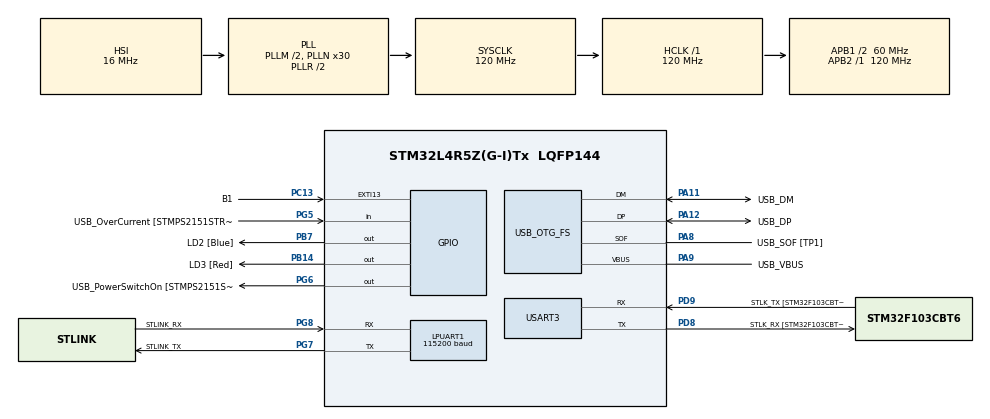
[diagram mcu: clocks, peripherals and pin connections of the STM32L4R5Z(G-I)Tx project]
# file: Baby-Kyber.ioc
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LPUART1.BaudRate=115200
LPUART1.WordLength=UART_WORDLENGTH_8B
Mcu.Family=STM32L4
Mcu.Name=STM32L4R5Z(G-I)Tx
Mcu.Package=LQFP144
NVIC.PriorityGroup=NVIC_PRIORITYGROUP_4
PA10.GPIO_Label=USB_ID
PA10.Signal=USB_OTG_FS_ID
PA11.GPIO_Label=USB_DM
PA11.Mode=Device_Only
PA11.Signal=USB_OTG_FS_DM
PA12.GPIO_Label=USB_DP
PA12.Mode=Device_Only
PA12.Signal=USB_OTG_FS_DP
PA13\ (JTMS/SWDIO).GPIO_Label=TMS
PA13\ (JTMS/SWDIO).Mode=Trace_Asynchronous_SW
PA13\ (JTMS/SWDIO).Signal=SYS_JTMS-SWDIO
PA14\ (JTCK/SWCLK).GPIO_Label=TCK
PA14\ (JTCK/SWCLK).Mode=Trace_Asynchronous_SW
PA14\ (JTCK/SWCLK).Signal=SYS_JTCK-SWCLK
PA8.GPIO_Label=USB_SOF [TP1]
PA8.Mode=Activate_SOF_FS
PA8.Signal=USB_OTG_FS_SOF
PA9.GPIO_Label=USB_VBUS
PA9.Mode=Activate_VBUS
PA9.Signal=USB_OTG_FS_VBUS
PB14.GPIO_Label=LD3 [Red]
PB14.Signal=GPIO_Output
PB3\ (JTDO/TRACESWO).GPIO_Label=SWO
PB3\ (JTDO/TRACESWO).Mode=Trace_Asynchronous_SW
PB3\ (JTDO/TRACESWO).Signal=SYS_JTDO-SWO
PB7.GPIO_Label=LD2 [Blue]
PB7.Signal=GPIO_Output
PC13.GPIO_Label=B1
PC13.Signal=GPXTI13
PC14-OSC32_IN\ (PC14).Mode=LSE-External-Oscillator
PC14-OSC32_IN\ (PC14).Signal=RCC_OSC32_IN
PC15-OSC32_OUT\ (PC15).Mode=LSE-External-Oscillator
PC15-OSC32_OUT\ (PC15).Signal=RCC_OSC32_OUT
PD8.GPIO_Label=STLK_RX [STM32F103CBT6_PA3]
PD8.Mode=Asynchronous
PD8.Signal=USART3_TX
PD9.GPIO_Label=STLK_TX [STM32F103CBT6_PA2]
PD9.Mode=Asynchronous
PD9.Signal=USART3_RX
PG5.GPIO_Label=USB_OverCurrent [STMPS2151STR_FAULT]
PG5.Signal=GPIO_Input
PG6.GPIO_Label=USB_PowerSwitchOn [STMPS2151STR_EN]
PG6.Signal=GPIO_Output
PG7.GPIO_Label=STLINK_TX
PG7.Mode=Asynchronous
PG7.Signal=LPUART1_TX
PG8.GPIO_Label=STLINK_RX
PG8.Mode=Asynchronous
PG8.Signal=LPUART1_RX
PH0-OSC_IN\ (PH0).Signal=RCC_OSC_IN
PH1-OSC_OUT\ (PH1).Signal=RCC_OSC_OUT
ProjectManager.HeapSize=0x200
ProjectManager.StackSize=0x400
ProjectManager.TargetToolchain=STM32CubeIDE
RCC.48MHZClocksFreq_Value=24000000
RCC.ADCFreq_Value=96000000
RCC.AHBFreq_Value=120000000
RCC.APB1CLKDivider=RCC_HCLK_DIV2
RCC.APB1Freq_Value=60000000
RCC.APB1TimFreq_Value=120000000
RCC.APB2Freq_Value=120000000
RCC.APB2TimFreq_Value=120000000
RCC.CK48CLockSelection=RCC_USBCLKSOURCE_HSI48
RCC.CortexFreq_Value=120000000
RCC.HCLKFreq_Value=120000000
RCC.HSE_VALUE=8000000
RCC.HSI48_VALUE=48000000
RCC.HSI_VALUE=16000000
RCC.MSI_VALUE=4000000
RCC.PLLM1=2
RCC.PLLMUL=RCC_PLL_MUL9
RCC.PLLN=30
RCC.PLLSAI1N=12
RCC.PLLSourceVirtual=RCC_PLLSOURCE_HSI
RCC.PRESCALERUSB=RCC_USBCLKSOURCE_PLL_DIV1_5
RCC.SYSCLKFreq_VALUE=120000000
RCC.SYSCLKSource=RCC_SYSCLKSOURCE_PLLCLK
RCC.SYSCLKSourceVirtual=RCC_SYSCLKSOURCE_PLLCLK
RCC.USBFreq_Value=48000000
RCC.VCOOutputFreq_Value=240000000
USART3.VirtualMode-Asynchronous=VM_ASYNC
USB_OTG_FS.VirtualMode=Device_Only
board=NUCLEO-L4R5ZI

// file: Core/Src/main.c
/* USER CODE BEGIN Header */
/**
  ******************************************************************************
  * @file           : main.c
  * @brief          : Main program body
  ******************************************************************************
  */
/* USER CODE END Header */
#include "main.h"

/* USER CODE BEGIN Includes */
#include <stdio.h>
#include <stdlib.h>
#include <string.h>
#include "BabyKyber.h"

/* USER CODE END Includes */

UART_HandleTypeDef hlpuart1;
UART_HandleTypeDef huart3;

PCD_HandleTypeDef hpcd_USB_OTG_FS;

void SystemClock_Config(void);
static void MX_GPIO_Init(void);
static void MX_LPUART1_UART_Init(void);
static void MX_USART3_UART_Init(void);
static void MX_USB_OTG_FS_PCD_Init(void);
/* USER CODE BEGIN PFP */

#ifdef __GNUC__
#define PUTCHAR_PROTOTYPE int __io_putchar(int ch)
#else
#define PUTCHAR_PROTOTYPE int fputc(int ch, FILE *f)
#endif

PUTCHAR_PROTOTYPE
{
  HAL_UART_Transmit(&hlpuart1, (uint8_t *)&ch, 1, HAL_MAX_DELAY);
  return ch;
}

/* USER CODE END PFP */

int main(void)
{

  /* MCU Configuration--------------------------------------------------------*/

  /* Reset of all peripherals, Initializes the Flash interface and the Systick. */
  HAL_Init();

  /* Configure the system clock */
  SystemClock_Config();

  /* Initialize all configured peripherals */
  MX_GPIO_Init();
  MX_LPUART1_UART_Init();
  MX_USART3_UART_Init();
  MX_USB_OTG_FS_PCD_Init();
  /* USER CODE BEGIN 2 */

  int A[4][4] = { { 11, 16, 16, 6 }, { 3, 6, 4, 9 },
		  	  	  { 1, 10, 3, 5 }, { 15, 9, 1, 6 } };
  int S[2][4] = { { 0, 1, -1, -1 }, { 0, -1, 0, -1 } };
  int e[2][4] = { { 0, 0, 1, 0 }, { 0, -1, 1, 0 } };

  int t[2][4] = {0};

  GenerateT(A, S, e, t);

  PrintPoly(t[0], 4);
  PrintPoly(t[1], 4);

  // Encryption

  int r[2][4] = { { 0, 0, 1, -1 }, { -1, 0, 1, 1 } };
  int e1[2][4] = { { 0, 1, 1, 0 }, {0, 0, 1, 0} };
  int e2[4] = { 0, 0, -1, -1 };

  int u[2][4] = {0};
  int v[4] = {0};

  int data[4] = { 1, 1, 0, 1 };

  Encrypt(A, t, r, e1, e2, 4, u, v, data);

  printf("u: \r\n");
  PrintPoly(u[0], 4);
  PrintPoly(u[1], 4);

  printf("v: \r\n");
  PrintPoly(v, 4);

  // decryption
  int plaintext[4] = {0};

  Decrypt(S, u, v, plaintext);

  printf("Plain Text: \r\n");
  PrintPoly(plaintext, 4);

  /* USER CODE END 2 */

  /* Infinite loop */
  while (1)
  {

  }
}

void SystemClock_Config(void)
{
  RCC_OscInitTypeDef RCC_OscInitStruct = {0};
  RCC_ClkInitTypeDef RCC_ClkInitStruct = {0};

  /** Configure the main internal regulator output voltage
  */
  if (HAL_PWREx_ControlVoltageScaling(PWR_REGULATOR_VOLTAGE_SCALE1_BOOST) != HAL_OK)
  {
    Error_Handler();
  }

  /** Initializes the RCC Oscillators according to the specified parameters
  * in the RCC_OscInitTypeDef structure.
  */
  RCC_OscInitStruct.OscillatorType = RCC_OSCILLATORTYPE_HSI48|RCC_OSCILLATORTYPE_HSI;
  RCC_OscInitStruct.HSIState = RCC_HSI_ON;
  RCC_OscInitStruct.HSI48State = RCC_HSI48_ON;
  RCC_OscInitStruct.HSICalibrationValue = RCC_HSICALIBRATION_DEFAULT;
  RCC_OscInitStruct.PLL.PLLState = RCC_PLL_ON;
  RCC_OscInitStruct.PLL.PLLSource = RCC_PLLSOURCE_HSI;
  RCC_OscInitStruct.PLL.PLLM = 2;
  RCC_OscInitStruct.PLL.PLLN = 30;
  RCC_OscInitStruct.PLL.PLLP = RCC_PLLP_DIV2;
  RCC_OscInitStruct.PLL.PLLQ = RCC_PLLQ_DIV2;
  RCC_OscInitStruct.PLL.PLLR = RCC_PLLR_DIV2;
  if (HAL_RCC_OscConfig(&RCC_OscInitStruct) != HAL_OK)
  {
    Error_Handler();
  }

  /** Initializes the CPU, AHB and APB buses clocks
  */
  RCC_ClkInitStruct.ClockType = RCC_CLOCKTYPE_HCLK|RCC_CLOCKTYPE_SYSCLK
                              |RCC_CLOCKTYPE_PCLK1|RCC_CLOCKTYPE_PCLK2;
  RCC_ClkInitStruct.SYSCLKSource = RCC_SYSCLKSOURCE_PLLCLK;
  RCC_ClkInitStruct.AHBCLKDivider = RCC_SYSCLK_DIV1;
  RCC_ClkInitStruct.APB1CLKDivider = RCC_HCLK_DIV2;
  RCC_ClkInitStruct.APB2CLKDivider = RCC_HCLK_DIV1;

  if (HAL_RCC_ClockConfig(&RCC_ClkInitStruct, FLASH_LATENCY_5) != HAL_OK)
  {
    Error_Handler();
  }
}

static void MX_LPUART1_UART_Init(void)
{

  hlpuart1.Instance = LPUART1;
  hlpuart1.Init.BaudRate = 115200;
  hlpuart1.Init.WordLength = UART_WORDLENGTH_8B;
  hlpuart1.Init.StopBits = UART_STOPBITS_1;
  hlpuart1.Init.Parity = UART_PARITY_NONE;
  hlpuart1.Init.Mode = UART_MODE_TX_RX;
  hlpuart1.Init.HwFlowCtl = UART_HWCONTROL_NONE;
  hlpuart1.Init.OneBitSampling = UART_ONE_BIT_SAMPLE_DISABLE;
  hlpuart1.Init.ClockPrescaler = UART_PRESCALER_DIV1;
  hlpuart1.AdvancedInit.AdvFeatureInit = UART_ADVFEATURE_NO_INIT;
  hlpuart1.FifoMode = UART_FIFOMODE_DISABLE;
  if (HAL_UART_Init(&hlpuart1) != HAL_OK)
  {
    Error_Handler();
  }
  if (HAL_UARTEx_SetTxFifoThreshold(&hlpuart1, UART_TXFIFO_THRESHOLD_1_8) != HAL_OK)
  {
    Error_Handler();
  }
  if (HAL_UARTEx_SetRxFifoThreshold(&hlpuart1, UART_RXFIFO_THRESHOLD_1_8) != HAL_OK)
  {
    Error_Handler();
  }
  if (HAL_UARTEx_DisableFifoMode(&hlpuart1) != HAL_OK)
  {
    Error_Handler();
  }

}

static void MX_USART3_UART_Init(void)
{

  huart3.Instance = USART3;
  huart3.Init.BaudRate = 115200;
  huart3.Init.WordLength = UART_WORDLENGTH_8B;
  huart3.Init.StopBits = UART_STOPBITS_1;
  huart3.Init.Parity = UART_PARITY_NONE;
  huart3.Init.Mode = UART_MODE_TX_RX;
  huart3.Init.HwFlowCtl = UART_HWCONTROL_NONE;
  huart3.Init.OverSampling = UART_OVERSAMPLING_16;
  huart3.Init.OneBitSampling = UART_ONE_BIT_SAMPLE_DISABLE;
  huart3.Init.ClockPrescaler = UART_PRESCALER_DIV1;
  huart3.AdvancedInit.AdvFeatureInit = UART_ADVFEATURE_NO_INIT;
  if (HAL_UART_Init(&huart3) != HAL_OK)
  {
    Error_Handler();
  }
  if (HAL_UARTEx_SetTxFifoThreshold(&huart3, UART_TXFIFO_THRESHOLD_1_8) != HAL_OK)
  {
    Error_Handler();
  }
  if (HAL_UARTEx_SetRxFifoThreshold(&huart3, UART_RXFIFO_THRESHOLD_1_8) != HAL_OK)
  {
    Error_Handler();
  }
  if (HAL_UARTEx_DisableFifoMode(&huart3) != HAL_OK)
  {
    Error_Handler();
  }

}

static void MX_USB_OTG_FS_PCD_Init(void)
{

  hpcd_USB_OTG_FS.Instance = USB_OTG_FS;
  hpcd_USB_OTG_FS.Init.dev_endpoints = 6;
  hpcd_USB_OTG_FS.Init.phy_itface = PCD_PHY_EMBEDDED;
  hpcd_USB_OTG_FS.Init.Sof_enable = ENABLE;
  hpcd_USB_OTG_FS.Init.low_power_enable = DISABLE;
  hpcd_USB_OTG_FS.Init.lpm_enable = DISABLE;
  hpcd_USB_OTG_FS.Init.battery_charging_enable = ENABLE;
  hpcd_USB_OTG_FS.Init.use_dedicated_ep1 = DISABLE;
  hpcd_USB_OTG_FS.Init.vbus_sensing_enable = ENABLE;
  if (HAL_PCD_Init(&hpcd_USB_OTG_FS) != HAL_OK)
  {
    Error_Handler();
  }

}

static void MX_GPIO_Init(void)
{
  GPIO_InitTypeDef GPIO_InitStruct = {0};

  /* GPIO Ports Clock Enable */
  __HAL_RCC_GPIOC_CLK_ENABLE();
  __HAL_RCC_GPIOH_CLK_ENABLE();
  __HAL_RCC_GPIOB_CLK_ENABLE();
  __HAL_RCC_GPIOD_CLK_ENABLE();
  __HAL_RCC_GPIOG_CLK_ENABLE();
  HAL_PWREx_EnableVddIO2();
  __HAL_RCC_GPIOA_CLK_ENABLE();

  /*Configure GPIO pin Output Level */
  HAL_GPIO_WritePin(GPIOB, LD3_Pin|LD2_Pin, GPIO_PIN_RESET);

  /*Configure GPIO pin Output Level */
  HAL_GPIO_WritePin(USB_PowerSwitchOn_GPIO_Port, USB_PowerSwitchOn_Pin, GPIO_PIN_RESET);

  /*Configure GPIO pin : B1_Pin */
  GPIO_InitStruct.Pin = B1_Pin;
  GPIO_InitStruct.Mode = GPIO_MODE_IT_RISING;
  GPIO_InitStruct.Pull = GPIO_NOPULL;
  HAL_GPIO_Init(B1_GPIO_Port, &GPIO_InitStruct);

  /*Configure GPIO pins : LD3_Pin LD2_Pin */
  GPIO_InitStruct.Pin = LD3_Pin|LD2_Pin;
  GPIO_InitStruct.Mode = GPIO_MODE_OUTPUT_PP;
  GPIO_InitStruct.Pull = GPIO_NOPULL;
  GPIO_InitStruct.Speed = GPIO_SPEED_FREQ_LOW;
  HAL_GPIO_Init(GPIOB, &GPIO_InitStruct);

  /*Configure GPIO pin : USB_OverCurrent_Pin */
  GPIO_InitStruct.Pin = USB_OverCurrent_Pin;
  GPIO_InitStruct.Mode = GPIO_MODE_INPUT;
  GPIO_InitStruct.Pull = GPIO_NOPULL;
  HAL_GPIO_Init(USB_OverCurrent_GPIO_Port, &GPIO_InitStruct);

  /*Configure GPIO pin : USB_PowerSwitchOn_Pin */
  GPIO_InitStruct.Pin = USB_PowerSwitchOn_Pin;
  GPIO_InitStruct.Mode = GPIO_MODE_OUTPUT_PP;
  GPIO_InitStruct.Pull = GPIO_NOPULL;
  GPIO_InitStruct.Speed = GPIO_SPEED_FREQ_LOW;
  HAL_GPIO_Init(USB_PowerSwitchOn_GPIO_Port, &GPIO_InitStruct);

}

void Error_Handler(void)
{
  __disable_irq();
  while (1)
  {
  }
}
